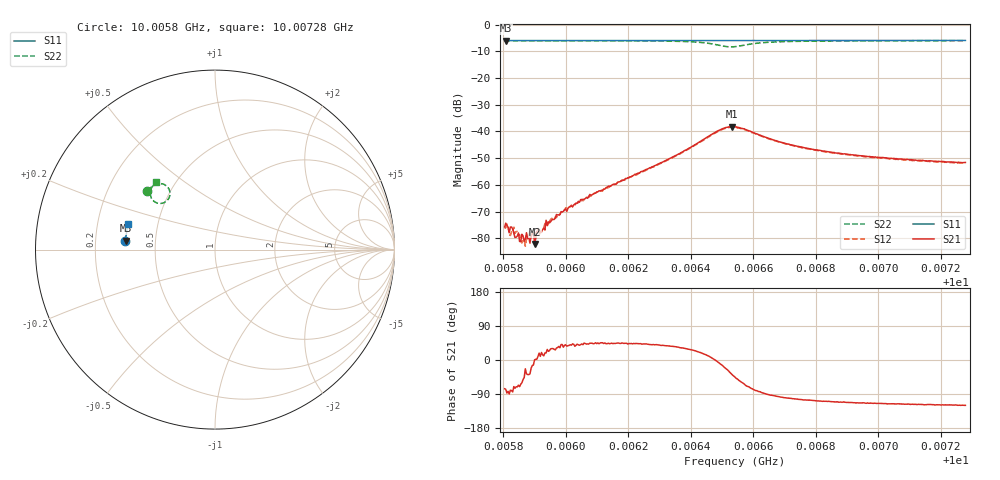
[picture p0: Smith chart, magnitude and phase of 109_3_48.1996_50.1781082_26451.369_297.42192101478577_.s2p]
#  HZ  S  RI  R  50.00
! Rohde & Schwarz Vector Network Analyzer
! Rohde-Schwarz,ZNB20-2Port,1311601062101988,3.16
! Created: UTC 3/20/2024, 11:40:56 AM
! freq[Hz]  re:S11  im:S11  re:S21  im:S21  re:S12  im:S12  re:S22  im:S22
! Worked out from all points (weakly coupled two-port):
!   401 points, 10.0058 GHz to 10.00728 GHz, reference 50 ohm
!   highest |S21| = -38.22 dB at 10.00653 GHz (marker M1); lowest = -82.1 dB at 10.0059 GHz (marker M2)
!   lowest |S11| = -6.0 dB at 10.00581 GHz (marker M3), VSWR 3.01, Z = 16.7 + j2.22 ohm
!   |S11| at or under -10 dB: nowhere
!   |S22| runs from -8.4 to -6.0 dB; largest |S21 - S12| = 0.00084
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1.0005805e10  -0.4986 0.05  3.97e-05 -0.000158  -1.12e-05 -0.000152  -0.3763 0.3259
1.0005808e10  -0.4985 0.05  4.17e-05 -0.000187  -1.53e-05 -0.000157  -0.3762 0.3261
1.0005823e10  -0.4986 0.0511  2.91e-05 -0.000159  2.15e-05 -0.000111  -0.3754 0.3269
1.0005838e10  -0.4986 0.0522  2.71e-05 -9.99e-05  4.33e-05 -0.000116  -0.3746 0.3279
1.0005845e10  -0.4985 0.0525  3.6e-05 -0.000104  4.37e-05 -0.000127  -0.3742 0.3283
1.0005864e10  -0.4985 0.0536  6.9e-05 -8.71e-05  5.79e-05 -7.29e-05  -0.3732 0.3296
1.0005886e10  -0.4983 0.0553  6.49e-05 -4.84e-05  0.000121 -7.21e-05  -0.372 0.3309
1.00059e10  -0.4981 0.0562  7.87e-05 5.93e-07  0.000105 -1.07e-05  -0.3712 0.3319
1.0005923e10  -0.4981 0.0577  0.000123 4.41e-05  0.000139 2.95e-05  -0.3698 0.3333
1.0005948e10  -0.498 0.0593  0.000177 8.18e-05  0.000171 0.000114  -0.3684 0.335
1.0006004e10  -0.4977 0.0629  0.000256 0.000189  0.000289 0.000221  -0.3649 0.3388
1.0006052e10  -0.4973 0.066  0.000393 0.000359  0.000371 0.000373  -0.3616 0.3422
1.0006092e10  -0.4971 0.0686  0.000503 0.000479  0.000509 0.000484  -0.3585 0.3452
1.0006299e10  -0.4953 0.0822  0.00191 0.0016  0.00181 0.00164  -0.3339 0.3623
1.0006446e10  -0.4936 0.0917  0.00713 0.00189  0.00687 0.00213  -0.2778 0.3601
1.0006494e10  -0.4926 0.0944  0.0106 -0.00178  0.0104 -0.00122  -0.2512 0.3203
1.0006531e10  -0.492 0.0963  0.00978 -0.00741  0.00991 -0.00668  -0.2691 0.2711
1.0006542e10  -0.492 0.0966  0.00865 -0.00866  0.00893 -0.00803  -0.2829 0.262
1.0006623e10  -0.492 0.1017  0.0009 -0.00847  0.00119 -0.00821  -0.3537 0.285
1.0006789e10  -0.4904 0.1126  -0.00132 -0.00444  -0.00111 -0.00442  -0.3573 0.3355
1.0007036e10  -0.4871 0.1285  -0.00135 -0.00283  -0.00117 -0.00282  -0.3422 0.3617
1.0007279e10  -0.4835 0.1435  -0.0013 -0.00228  -0.00113 -0.00227  -0.3286 0.3775
